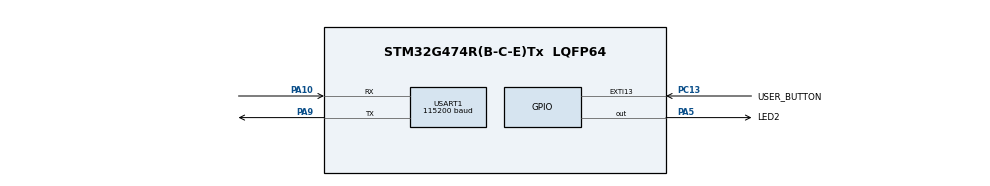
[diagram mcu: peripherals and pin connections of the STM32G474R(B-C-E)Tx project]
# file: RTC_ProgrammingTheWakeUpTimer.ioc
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Mcu.Family=STM32G4
Mcu.Name=STM32G474R(B-C-E)Tx
Mcu.Package=LQFP64
NVIC.EXTI15_10_IRQn=true\:0\:0\:false\:false\:true\:true\:true\:true
NVIC.PriorityGroup=NVIC_PRIORITYGROUP_4
NVIC.RTC_WKUP_IRQn=true\:0\:0\:false\:false\:true\:true\:true\:true
NVIC.USART1_IRQn=true\:0\:0\:false\:false\:true\:true\:true\:true
PA10.GPIO_PuPd=GPIO_PULLUP
PA10.GPIO_Speed=GPIO_SPEED_FREQ_HIGH
PA10.Mode=Asynchronous
PA10.Signal=USART1_RX
PA5.GPIO_Label=LED2
PA5.Signal=GPIO_Output
PA9.GPIO_PuPd=GPIO_PULLUP
PA9.GPIO_Speed=GPIO_SPEED_FREQ_HIGH
PA9.Mode=Asynchronous
PA9.Signal=USART1_TX
PC13.GPIO_Label=USER_BUTTON
PC13.Signal=GPXTI13
ProjectManager.HeapSize=0x200
ProjectManager.StackSize=0x400
ProjectManager.TargetToolchain=EWARM V8.32
RCC.ADC12Freq_Value=170000000
RCC.ADC345Freq_Value=170000000
RCC.AHBFreq_Value=170000000
RCC.APB1Freq_Value=170000000
RCC.APB1TimFreq_Value=170000000
RCC.APB2Freq_Value=170000000
RCC.APB2TimFreq_Value=170000000
RCC.CortexFreq_Value=170000000
RCC.EXTERNAL_CLOCK_VALUE=12288000
RCC.HCLKFreq_Value=170000000
RCC.HSE_VALUE=24000000
RCC.HSI48_VALUE=48000000
RCC.HSI_VALUE=16000000
RCC.LSE_VALUE=32768
RCC.PLLM=RCC_PLLM_DIV4
RCC.PLLN=85
RCC.SYSCLKFreq_VALUE=170000000
RCC.SYSCLKSource=RCC_SYSCLKSOURCE_PLLCLK
RCC.USBFreq_Value=170000000
RCC.VCOOutputFreq_Value=340000000
RTC.AsynchPrediv=RTC_ASYNCH_PREDIV
RTC.Date=1
RTC.DayLightSaving=RTC_DAYLIGHTSAVING_NONE
RTC.Format=RTC_FORMAT_BCD
RTC.HourFormat=RTC_HOURFORMAT_24
RTC.Hours=0
RTC.Minutes=0
RTC.Month=RTC_MONTH_MARCH
RTC.Seconds=0
RTC.StoreOperation=RTC_STOREOPERATION_RESET
RTC.SubSeconds=0
RTC.SynchPrediv=RTC_SYNCH_PREDIV
RTC.WakeUpClock-WakeUp=RTC_WAKEUPCLOCK_CK_SPRE_16BITS
RTC.WakeUpCounter-WakeUp=0
RTC.WeekDay=RTC_WEEKDAY_MONDAY
RTC.Year=19
USART1.AutoBaudRateEnableParam=UART_ADVFEATURE_AUTOBAUDRATE_DISABLE
USART1.BaudRate=115200
USART1.ClockPrescaler=PRESCALER_DIV1
USART1.DMADisableonRxErrorParam=ADVFEATURE_DMA_DISABLEONRXERROR
USART1.DataInvertParam=ADVFEATURE_DATAINV_DISABLE
USART1.FIFOMode=FIFOMODE_DISABLE
USART1.MSBFirstParam=ADVFEATURE_MSBFIRST_DISABLE
USART1.Mode=MODE_TX_RX
USART1.OneBitSampling=UART_ONE_BIT_SAMPLE_DISABLE
USART1.OverSampling=UART_OVERSAMPLING_16
USART1.OverrunDisableParam=ADVFEATURE_OVERRUN_DISABLE
USART1.Parity=PARITY_NONE
USART1.RXFIFOThreshold=RXFIFO_THRESHOLD_1EIGHTHFULL
USART1.RxPinLevelInvertParam=ADVFEATURE_RXINV_DISABLE
USART1.StopBits=STOPBITS_1
USART1.SwapParam=ADVFEATURE_SWAP_DISABLE
USART1.TXFIFOThreshold=TXFIFO_THRESHOLD_1EIGHTHFULL
USART1.TxPinLevelInvertParam=ADVFEATURE_TXINV_DISABLE
USART1.VirtualMode-Asynchronous=VM_ASYNC
USART1.WordLength=WORDLENGTH_8B
VP_RTC_VS_RTC_Activate.Mode=RTC_Enabled
VP_RTC_VS_RTC_Calendar.Mode=RTC_Calendar
VP_RTC_VS_RTC_WakeUp_intern.Mode=WakeUp
VP_SYS_VS_DBSignals.Mode=DisableDeadBatterySignals
board=custom

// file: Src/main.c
/* USER CODE BEGIN Header */
/**
  ******************************************************************************
  * @file    Examples_LL/RTC/RTC_ProgrammingTheWakeUpTimer/Src/main.c
  * @author  MCD Application Team
  * @brief   This sample code shows how to use STM32G4xx RTC LL API to configure
  *          Time and Date.
  *          Peripheral initialization done using LL unitary services functions.
  ******************************************************************************
  * @attention
  *
  * Copyright (c) 2019-2021 STMicroelectronics.
  * All rights reserved.
  *
  * This software is licensed under terms that can be found in the LICENSE file
  * in the root directory of this software component.
  * If no LICENSE file comes with this software, it is provided AS-IS.
  *
  ******************************************************************************
  */
/* USER CODE END Header */
#include "main.h"

/* USER CODE BEGIN PD */

/* Constant used to convert in ASCII format */
#define ASCII_CONVERT              ((uint32_t)48)

/* Defines related to Clock configuration */
/* Uncomment to enable the adequate Clock Source */
#define RTC_CLOCK_SOURCE_LSI
/*#define RTC_CLOCK_SOURCE_LSE*/

#ifdef RTC_CLOCK_SOURCE_LSI
/* ck_apre=LSIFreq/(ASYNC prediv + 1) with LSIFreq=37 kHz RC */
#define RTC_ASYNCH_PREDIV          ((uint32_t)0x7F)
/* ck_spre=ck_apre/(SYNC prediv + 1) = 1 Hz */
#define RTC_SYNCH_PREDIV           ((uint32_t)0x122)
#endif

#ifdef RTC_CLOCK_SOURCE_LSE
/* ck_apre=LSEFreq/(ASYNC prediv + 1) = 256Hz with LSEFreq=32768Hz */
#define RTC_ASYNCH_PREDIV          ((uint32_t)0x7F)
/* ck_spre=ck_apre/(SYNC prediv + 1) = 1 Hz */
#define RTC_SYNCH_PREDIV           ((uint32_t)0x00FF)
#endif
/* USER CODE END PD */

/* USER CODE BEGIN PV */
volatile uint16_t error = 0;  //initialized at 0 and modified by the functions

uint8_t bSend = 0;
uint8_t aStringToSend[20] = "\n00 : 00 : 00 ";
uint8_t RTC_InitializationMode = 0;
uint8_t CharToReceive = 0;
uint8_t CharReceived = 0;
uint8_t Alarm = 1; /* set to 1 for the first print */

#if (USE_TIMEOUT == 1)
uint32_t Timeout = 0; /* Variable used for Timeout management */
#endif /* USE_TIMEOUT */

/* USER CODE END PV */

void SystemClock_Config(void);
static void MX_GPIO_Init(void);
static void MX_RTC_Init(void);
static void MX_USART1_UART_Init(void);
/* USER CODE BEGIN PFP */
void     Process(void);
void     Set_RTC_Time(uint32_t Hour, uint32_t Minute, uint32_t Second);
uint32_t Enter_RTC_InitMode(void);
void     LED_Blinking(uint32_t Period);
uint32_t Exit_RTC_InitMode(void);
uint32_t WaitForSynchro_RTC(void);

/* USER CODE END PFP */

int main(void)
{

  /* MCU Configuration--------------------------------------------------------*/

  /* Reset of all peripherals, Initializes the Flash interface and the Systick. */

  LL_APB2_GRP1_EnableClock(LL_APB2_GRP1_PERIPH_SYSCFG);
  LL_APB1_GRP1_EnableClock(LL_APB1_GRP1_PERIPH_PWR);

  NVIC_SetPriorityGrouping(NVIC_PRIORITYGROUP_4);

  /* System interrupt init*/

  /** Disable the internal Pull-Up in Dead Battery pins of UCPD peripheral
  */
  LL_PWR_DisableUCPDDeadBattery();

  /* Configure the system clock */
  SystemClock_Config();

  /* Initialize all configured peripherals */
  MX_GPIO_Init();
  MX_RTC_Init();
  MX_USART1_UART_Init();
  /* USER CODE BEGIN 2 */

  /* Enable RXNE and Error interrupts */
  LL_USART_EnableIT_RXNE(USART1);
  /* Enable TC interrupt */
  LL_USART_EnableIT_TC(USART1);
  LL_USART_EnableIT_ERROR(USART1);
  /* USER CODE END 2 */

  /* Infinite loop */
  while (1)
  {

    /* USER CODE BEGIN 3 */
    Process();
    LL_GPIO_TogglePin(LED2_GPIO_Port, LED2_Pin);
    LL_mDelay(1000);
  }
  /* USER CODE END 3 */
}

void SystemClock_Config(void)
{
  LL_FLASH_SetLatency(LL_FLASH_LATENCY_4);
  while(LL_FLASH_GetLatency() != LL_FLASH_LATENCY_4)
  {
  }
  LL_PWR_EnableRange1BoostMode();
  LL_RCC_HSI_Enable();
   /* Wait till HSI is ready */
  while(LL_RCC_HSI_IsReady() != 1)
  {
  }

  LL_RCC_HSI_SetCalibTrimming(64);
  LL_RCC_LSI_Enable();
   /* Wait till LSI is ready */
  while(LL_RCC_LSI_IsReady() != 1)
  {
  }

  LL_PWR_EnableBkUpAccess();
  LL_RCC_PLL_ConfigDomain_SYS(LL_RCC_PLLSOURCE_HSI, LL_RCC_PLLM_DIV_4, 85, LL_RCC_PLLR_DIV_2);
  LL_RCC_PLL_EnableDomain_SYS();
  LL_RCC_PLL_Enable();
   /* Wait till PLL is ready */
  while(LL_RCC_PLL_IsReady() != 1)
  {
  }

  LL_RCC_SetSysClkSource(LL_RCC_SYS_CLKSOURCE_PLL);
  LL_RCC_SetAHBPrescaler(LL_RCC_SYSCLK_DIV_2);
   /* Wait till System clock is ready */
  while(LL_RCC_GetSysClkSource() != LL_RCC_SYS_CLKSOURCE_STATUS_PLL)
  {
  }

  /* Insure 1µs transition state at intermediate medium speed clock based on DWT */
  CoreDebug->DEMCR |= CoreDebug_DEMCR_TRCENA_Msk;
  DWT->CTRL |= DWT_CTRL_CYCCNTENA_Msk;
  DWT->CYCCNT = 0;
  while(DWT->CYCCNT < 100);
  /* Set AHB prescaler*/
  LL_RCC_SetAHBPrescaler(LL_RCC_SYSCLK_DIV_1);
  LL_RCC_SetAPB1Prescaler(LL_RCC_APB1_DIV_1);
  LL_RCC_SetAPB2Prescaler(LL_RCC_APB2_DIV_1);

  LL_Init1msTick(170000000);

  LL_SetSystemCoreClock(170000000);
}

static void MX_RTC_Init(void)
{

  LL_RTC_InitTypeDef RTC_InitStruct = {0};
  LL_RTC_TimeTypeDef RTC_TimeStruct = {0};
  LL_RTC_DateTypeDef RTC_DateStruct = {0};

  if(LL_RCC_GetRTCClockSource() != LL_RCC_RTC_CLKSOURCE_LSI)
  {
    LL_RCC_ForceBackupDomainReset();
    LL_RCC_ReleaseBackupDomainReset();
    LL_RCC_SetRTCClockSource(LL_RCC_RTC_CLKSOURCE_LSI);
  }

  /* Peripheral clock enable */
  LL_RCC_EnableRTC();
  LL_APB1_GRP1_EnableClock(LL_APB1_GRP1_PERIPH_RTCAPB);

  /* RTC interrupt Init */
  NVIC_SetPriority(RTC_WKUP_IRQn, NVIC_EncodePriority(NVIC_GetPriorityGrouping(),0, 0));
  NVIC_EnableIRQ(RTC_WKUP_IRQn);

  RTC_InitStruct.HourFormat = LL_RTC_HOURFORMAT_24HOUR;
  RTC_InitStruct.AsynchPrescaler = RTC_ASYNCH_PREDIV;
  RTC_InitStruct.SynchPrescaler = RTC_SYNCH_PREDIV;
  LL_RTC_Init(RTC, &RTC_InitStruct);
  /** Initialize RTC and set the Time and Date
  */
  if(LL_RTC_BKP_GetRegister(RTC,LL_RTC_BKP_DR0) != 0x32F2){

  RTC_TimeStruct.Hours = 0x0;
  RTC_TimeStruct.Minutes = 0x0;
  RTC_TimeStruct.Seconds = 0x0;

  LL_RTC_TIME_Init(RTC, LL_RTC_FORMAT_BCD, &RTC_TimeStruct);
  RTC_DateStruct.WeekDay = LL_RTC_WEEKDAY_MONDAY;
  RTC_DateStruct.Month = LL_RTC_MONTH_MARCH;
  RTC_DateStruct.Day = 0x1;
  RTC_DateStruct.Year = 0x19;

  LL_RTC_DATE_Init(RTC, LL_RTC_FORMAT_BCD, &RTC_DateStruct);
    LL_RTC_BKP_SetRegister(RTC,LL_RTC_BKP_DR0,0x32F2);
  }
  /** Enable the WakeUp
  */
  LL_RTC_EnableIT_WUT(RTC);
  LL_RTC_WAKEUP_SetClock(RTC, LL_RTC_WAKEUPCLOCK_CKSPRE);
  LL_RTC_WAKEUP_SetAutoReload(RTC, 0);
  /* USER CODE BEGIN RTC_Init 2 */
  LL_USART_ClearFlag_TC(USART1);

  /* USER CODE END RTC_Init 2 */

}

static void MX_USART1_UART_Init(void)
{

  LL_USART_InitTypeDef USART_InitStruct = {0};

  LL_GPIO_InitTypeDef GPIO_InitStruct = {0};

  LL_RCC_SetUSARTClockSource(LL_RCC_USART1_CLKSOURCE_PCLK2);

  /* Peripheral clock enable */
  LL_APB2_GRP1_EnableClock(LL_APB2_GRP1_PERIPH_USART1);

  LL_AHB2_GRP1_EnableClock(LL_AHB2_GRP1_PERIPH_GPIOA);
  /**USART1 GPIO Configuration
  PA9   ------> USART1_TX
  PA10   ------> USART1_RX
  */
  GPIO_InitStruct.Pin = LL_GPIO_PIN_9;
  GPIO_InitStruct.Mode = LL_GPIO_MODE_ALTERNATE;
  GPIO_InitStruct.Speed = LL_GPIO_SPEED_FREQ_HIGH;
  GPIO_InitStruct.OutputType = LL_GPIO_OUTPUT_PUSHPULL;
  GPIO_InitStruct.Pull = LL_GPIO_PULL_UP;
  GPIO_InitStruct.Alternate = LL_GPIO_AF_7;
  LL_GPIO_Init(GPIOA, &GPIO_InitStruct);

  GPIO_InitStruct.Pin = LL_GPIO_PIN_10;
  GPIO_InitStruct.Mode = LL_GPIO_MODE_ALTERNATE;
  GPIO_InitStruct.Speed = LL_GPIO_SPEED_FREQ_HIGH;
  GPIO_InitStruct.OutputType = LL_GPIO_OUTPUT_PUSHPULL;
  GPIO_InitStruct.Pull = LL_GPIO_PULL_UP;
  GPIO_InitStruct.Alternate = LL_GPIO_AF_7;
  LL_GPIO_Init(GPIOA, &GPIO_InitStruct);

  /* USART1 interrupt Init */
  NVIC_SetPriority(USART1_IRQn, NVIC_EncodePriority(NVIC_GetPriorityGrouping(),0, 0));
  NVIC_EnableIRQ(USART1_IRQn);

  USART_InitStruct.PrescalerValue = LL_USART_PRESCALER_DIV1;
  USART_InitStruct.BaudRate = 115200;
  USART_InitStruct.DataWidth = LL_USART_DATAWIDTH_8B;
  USART_InitStruct.StopBits = LL_USART_STOPBITS_1;
  USART_InitStruct.Parity = LL_USART_PARITY_NONE;
  USART_InitStruct.TransferDirection = LL_USART_DIRECTION_TX_RX;
  USART_InitStruct.HardwareFlowControl = LL_USART_HWCONTROL_NONE;
  USART_InitStruct.OverSampling = LL_USART_OVERSAMPLING_16;
  LL_USART_Init(USART1, &USART_InitStruct);
  LL_USART_SetTXFIFOThreshold(USART1, LL_USART_FIFOTHRESHOLD_1_8);
  LL_USART_SetRXFIFOThreshold(USART1, LL_USART_FIFOTHRESHOLD_1_8);
  LL_USART_DisableFIFO(USART1);
  LL_USART_DisableOverrunDetect(USART1);
  LL_USART_DisableDMADeactOnRxErr(USART1);
  LL_USART_ConfigAsyncMode(USART1);

  LL_USART_Enable(USART1);

  /* Polling USART1 initialisation */
  while((!(LL_USART_IsActiveFlag_TEACK(USART1))) || (!(LL_USART_IsActiveFlag_REACK(USART1))))
  {
  }

}

static void MX_GPIO_Init(void)
{
  LL_EXTI_InitTypeDef EXTI_InitStruct = {0};
  LL_GPIO_InitTypeDef GPIO_InitStruct = {0};

  /* GPIO Ports Clock Enable */
  LL_AHB2_GRP1_EnableClock(LL_AHB2_GRP1_PERIPH_GPIOC);
  LL_AHB2_GRP1_EnableClock(LL_AHB2_GRP1_PERIPH_GPIOA);

  /**/
  LL_GPIO_ResetOutputPin(LED2_GPIO_Port, LED2_Pin);

  /**/
  LL_SYSCFG_SetEXTISource(LL_SYSCFG_EXTI_PORTC, LL_SYSCFG_EXTI_LINE13);

  /**/
  EXTI_InitStruct.Line_0_31 = LL_EXTI_LINE_13;
  EXTI_InitStruct.LineCommand = ENABLE;
  EXTI_InitStruct.Mode = LL_EXTI_MODE_IT;
  EXTI_InitStruct.Trigger = LL_EXTI_TRIGGER_RISING;
  LL_EXTI_Init(&EXTI_InitStruct);

  /**/
  LL_GPIO_SetPinPull(USER_BUTTON_GPIO_Port, USER_BUTTON_Pin, LL_GPIO_PULL_NO);

  /**/
  LL_GPIO_SetPinMode(USER_BUTTON_GPIO_Port, USER_BUTTON_Pin, LL_GPIO_MODE_INPUT);

  /**/
  GPIO_InitStruct.Pin = LED2_Pin;
  GPIO_InitStruct.Mode = LL_GPIO_MODE_OUTPUT;
  GPIO_InitStruct.Speed = LL_GPIO_SPEED_FREQ_LOW;
  GPIO_InitStruct.OutputType = LL_GPIO_OUTPUT_PUSHPULL;
  GPIO_InitStruct.Pull = LL_GPIO_PULL_NO;
  LL_GPIO_Init(LED2_GPIO_Port, &GPIO_InitStruct);

  /* EXTI interrupt init*/
  NVIC_SetPriority(EXTI15_10_IRQn, NVIC_EncodePriority(NVIC_GetPriorityGrouping(),0, 0));
  NVIC_EnableIRQ(EXTI15_10_IRQn);

}

/* USER CODE BEGIN 4 */
/**
  * Brief   This function processes RTC with USART.
  * Param   None
  * Retval  None
  */
void Process(void)
{
  register uint32_t time = 0;
  static uint32_t new_hour = 0, new_minute = 0, new_second = 0;
  __IO uint32_t temp_read = 0;

  switch (RTC_InitializationMode)
  {
    case 0:
      /* check alarm and synchronisation flag */
      if (Alarm && (LL_RTC_IsActiveFlag_RS(RTC) == 1))
      {
        Alarm = 0;

        /* get time */
        time = LL_RTC_TIME_Get(RTC);
        /* need to read date also to unlock TR register */
        temp_read = READ_REG(RTC->DR);
        ((void)(temp_read));  /* To avoid warning */

        aStringToSend[1] = (uint8_t)((__LL_RTC_GET_HOUR(time) >> 4) + ASCII_CONVERT);/* hour tens */
        aStringToSend[2] = (uint8_t)((__LL_RTC_GET_HOUR(time) & 0x0F) + ASCII_CONVERT);/* hour units */
        aStringToSend[6] = (uint8_t)((__LL_RTC_GET_MINUTE(time) >> 4) + ASCII_CONVERT);/* minute tens */
        aStringToSend[7] = (uint8_t)((__LL_RTC_GET_MINUTE(time) & 0x0F) + ASCII_CONVERT);/* minute units */
        aStringToSend[11] = (uint8_t)((__LL_RTC_GET_SECOND(time) >> 4) + ASCII_CONVERT);/* second tens */
        aStringToSend[12] = (uint8_t)((__LL_RTC_GET_SECOND(time) & 0x0F) + ASCII_CONVERT);/* second units */

        /* start USART transmission */
        LL_USART_TransmitData8(USART1, aStringToSend[bSend++]); /* Will initiate TC if TXE */
      }
      break;
    case 1:
    {
      if (!bSend)
      {
        strcpy((char *)aStringToSend, "\nSend hour tens\n");
        LL_USART_TransmitData8(USART1, aStringToSend[bSend++]); /* Will initiate TC if TXE */
        RTC_InitializationMode = 2;
      }
    }
    break;
    case 2: /* Hour tens */
    {
      if (CharReceived)
      {
        CharReceived = 0;
        CharToReceive -= ASCII_CONVERT;
        if (CharToReceive < 3)
        {
          new_hour = CharToReceive << 4;
          RTC_InitializationMode = 3;
        }
        else
        {
          RTC_InitializationMode = 1;
        }
      }
    }
    break;
    case 3:
    {
      if (!bSend)
      {
        strcpy((char *)aStringToSend, "\nSend hour units\n");
        LL_USART_TransmitData8(USART1, aStringToSend[bSend++]); /* Will initiate TC if TXE */
        RTC_InitializationMode = 4;
      }
    }
    break;
    case 4: /* Hour units */
    {
      if (CharReceived)
      {
        CharReceived = 0;
        CharToReceive -= ASCII_CONVERT;
        if ((((new_hour >> 4) == 2) && (CharToReceive < 4)) ||
            (((new_hour >> 4) < 2) && (CharToReceive < 10)))
        {
          new_hour |= CharToReceive;
          RTC_InitializationMode = 5;
        }
        else
        {
          RTC_InitializationMode = 3;
        }
      }
    }
    break;
    case 5:
    {
      if (!bSend)
      {
        strcpy((char *)aStringToSend, "\nSend minute tens\n");
        LL_USART_TransmitData8(USART1, aStringToSend[bSend++]); /* Will initiate TC if TXE */
        RTC_InitializationMode = 6;
      }
    }
    break;
    case 6: /* Minute tens */
    {
      if (CharReceived)
      {
        CharReceived = 0;
        CharToReceive -= ASCII_CONVERT;
        if (CharToReceive < 6)
        {
          new_minute = CharToReceive << 4;
          RTC_InitializationMode = 7;
        }
        else
        {
          RTC_InitializationMode = 5;
        }
      }
    }
    break;
    case 7:
    {
      if (!bSend)
      {
        strcpy((char *)aStringToSend, "\nSend minute units\n");
        LL_USART_TransmitData8(USART1, aStringToSend[bSend++]); /* Will initiate TC if TXE */
        RTC_InitializationMode = 8;
      }
    }
    break;
    case 8: /* Minute units */
    {
      if (CharReceived)
      {
        CharReceived = 0;
        CharToReceive -= ASCII_CONVERT;
        if (CharToReceive < 10)
        {
          new_minute |= CharToReceive;
          RTC_InitializationMode = 9;
        }
        else
        {
          RTC_InitializationMode = 7;
        }
      }
    }
    break;
    case 9:
    {
      if (!bSend)
      {
        strcpy((char *)aStringToSend, "\nSend second tens\n");
        LL_USART_TransmitData8(USART1, aStringToSend[bSend++]); /* Will initiate TC if TXE */
        RTC_InitializationMode = 10;
      }
    }
    break;
    case 10: /* Second tens */
    {
      if (CharReceived)
      {
        CharReceived = 0;
        CharToReceive -= ASCII_CONVERT;
        if (CharToReceive < 6)
        {
          new_second = CharToReceive << 4;
          RTC_InitializationMode = 11;
        }
        else
        {
          RTC_InitializationMode = 9;
        }
      }
    }
    break;
    case 11:
    {
      if (!bSend)
      {
        strcpy((char *)aStringToSend, "\nSend second units\n");
        LL_USART_TransmitData8(USART1, aStringToSend[bSend++]); /* Will initiate TC if TXE */
        RTC_InitializationMode = 12;
      }
    }
    break;
    case 12: /* Second Units */
    {
      if (CharReceived)
      {
        CharReceived = 0;
        CharToReceive -= ASCII_CONVERT;
        if (CharToReceive < 10)
        {
          new_second |= CharToReceive;
          RTC_InitializationMode = 13;
        }
        else
        {
          RTC_InitializationMode = 11;
        }
      }
    }
    break;
    case 13:
    {
      Set_RTC_Time(new_hour, new_minute, new_second);
      strcpy((char *)aStringToSend, "\n-- : -- : --      ");
      RTC_InitializationMode = 0;
      Alarm = 1;
    }
    break;
  }
}

/**
  * Brief   This function sets the TIME in RTC.
  * Param   Hour   New Hour to set
  * Param   Minute New Minute to set
  * Param   Second New Second to set
  * Retval  None
  */
void Set_RTC_Time(uint32_t Hour, uint32_t Minute, uint32_t Second)
{
  /* Disable RTC registers write protection */
  LL_RTC_DisableWriteProtection(RTC);

  /* Enter in initialization mode */
  if (Enter_RTC_InitMode() != RTC_ERROR_NONE)
  {
    /* Initialization Error */
    LED_Blinking(LED_BLINK_FAST);
  }

  /* New time in TR */
  LL_RTC_TIME_Config(RTC,
                     LL_RTC_TIME_FORMAT_PM,
                     Hour,
                     Minute,
                     Second);

  /* Exit of initialization mode */
  if (Exit_RTC_InitMode() != RTC_ERROR_NONE)
  {
    /* Initialization Error */
    LED_Blinking(LED_BLINK_FAST);
  }

  /* Enable RTC registers write protection */
  LL_RTC_EnableWriteProtection(RTC);
}

/**
  * @brief  Enter in initialization mode
  * @note In this mode, the calendar counter is stopped and its value can be updated
  * @param  None
  * @retval RTC_ERROR_NONE if no error
  */
uint32_t Enter_RTC_InitMode(void)
{
  /* Set Initialization mode */
  LL_RTC_EnableInitMode(RTC);

#if (USE_TIMEOUT == 1)
  Timeout = RTC_TIMEOUT_VALUE;
#endif /* USE_TIMEOUT */

  /* Check if the Initialization mode is set */
  while (LL_RTC_IsActiveFlag_INIT(RTC) != 1)
  {
#if (USE_TIMEOUT == 1)
    if (LL_SYSTICK_IsActiveCounterFlag())
    {
      Timeout --;
    }
    if (Timeout == 0)
    {
      return RTC_ERROR_TIMEOUT;
    }
#endif /* USE_TIMEOUT */
  }

  return RTC_ERROR_NONE;
}

/**
  * @brief  Set LED2 to Blinking mode for an infinite loop (toggle period based on value provided as input parameter).
  * @param  Period : Period of time (in ms) between each toggling of LED
  *   This parameter can be user defined values. Pre-defined values used in that example are :
  *     @arg LED_BLINK_FAST : Fast Blinking
  *     @arg LED_BLINK_SLOW : Slow Blinking
  *     @arg LED_BLINK_FAST : Error specific Blinking
  * @retval None
  */
void LED_Blinking(uint32_t Period)
{
  /* Toggle IO in an infinite loop */
  while (1)
  {
    LL_GPIO_TogglePin(LED2_GPIO_Port, LED2_Pin);
    LL_mDelay(Period);
  }
}

/**
  * @brief  Exit Initialization mode
  * @param  None
  * @retval RTC_ERROR_NONE if no error
  */
uint32_t Exit_RTC_InitMode(void)
{
  LL_RTC_DisableInitMode(RTC);

  /* Wait for synchro */
  /* Note: Needed only if Shadow registers is enabled           */
  /*       LL_RTC_IsShadowRegBypassEnabled function can be used */
  return (WaitForSynchro_RTC());
}

/**
  * @brief  Wait until the RTC Time and Date registers (RTC_TR and RTC_DR) are
  *         synchronized with RTC APB clock.
  * @param  None
  * @retval RTC_ERROR_NONE if no error (RTC_ERROR_TIMEOUT will occur if RTC is
  *         not synchronized)
  */
uint32_t WaitForSynchro_RTC(void)
{
  /* Clear RSF flag */
  LL_RTC_ClearFlag_RS(RTC);

#if (USE_TIMEOUT == 1)
  Timeout = RTC_TIMEOUT_VALUE;
#endif /* USE_TIMEOUT */

  /* Wait the registers to be synchronised */
  while (LL_RTC_IsActiveFlag_RS(RTC) != 1)
  {
#if (USE_TIMEOUT == 1)
    if (LL_SYSTICK_IsActiveCounterFlag())
    {
      Timeout --;
    }
    if (Timeout == 0)
    {
      return RTC_ERROR_TIMEOUT;
    }
#endif /* USE_TIMEOUT */
  }
  return RTC_ERROR_NONE;
}

/**
  * @brief  Function to manage IRQ Handler
  * @param  None
  * @retval None
  */
void UserButton_Callback(void)
{
  RTC_InitializationMode = 1;
}

/**
  * @brief  Function called from USART IRQ Handler when RXNE flag is set
  *         Function is in charge of reading character received on USART RX line.
  * @param  None
  * @retval None
  */
void USART_CharReception_Callback(void)
{
  CharToReceive = LL_USART_ReceiveData8(USART1); /* Receive data, clear flag */
  CharReceived = 1;
}

/**
  * @brief  Function called for achieving next TX Byte bSending
  * @param  None
  * @retval None
  */
void USART_CharTransmitComplete_Callback(void)
{
  if (bSend == sizeof(aStringToSend))
  {
    bSend = 0;
  }
  else
  {
    /* clear transfer complete flag and fill TDR with a new char */
    LL_USART_TransmitData8(USART1, aStringToSend[bSend++]);
  }
}

/**
  * @brief  Function handle the RTC wakeup interruption.
  * @param  None
  * @retval None
  */
void RTC_Wakup_Treatement(void)
{
  /* Toggle Green LED */
  LL_GPIO_TogglePin(LED2_GPIO_Port, LED2_Pin);
  Alarm = 1;
}
/* USER CODE END 4 */

void Error_Handler(void)
{
}
